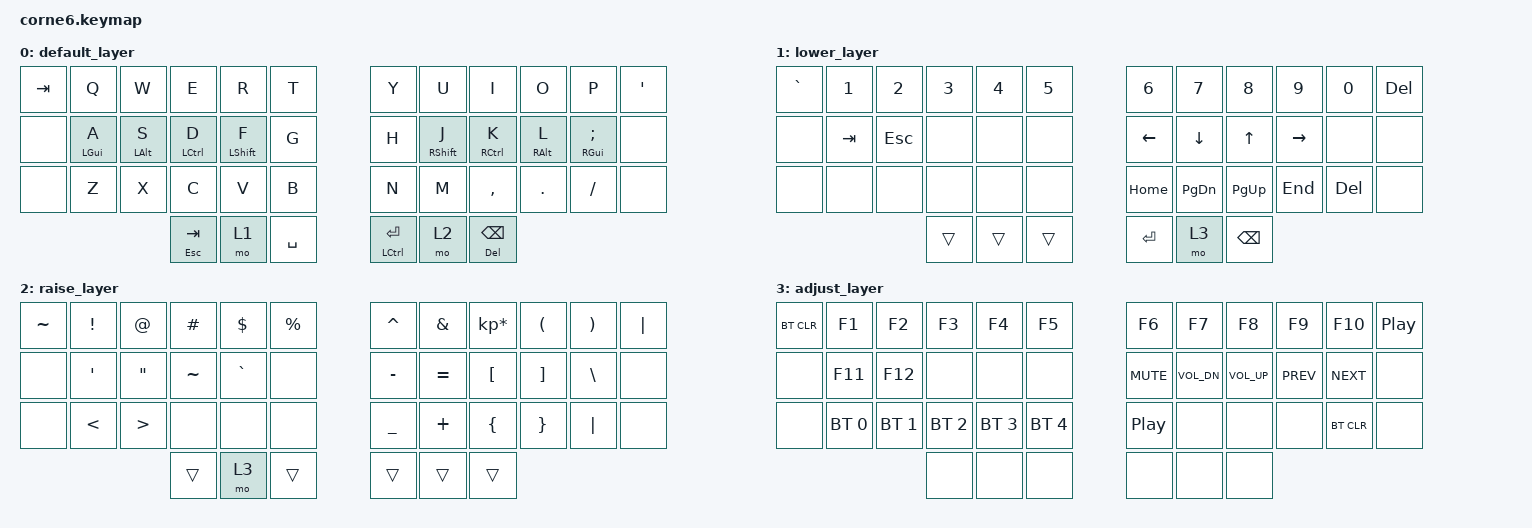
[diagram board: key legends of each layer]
// 6-COLUMN CORNE KEYMAP
// This file is for the 6-column Corne variant where the outer pinky column
// has real physical keys (42 keys total vs 40 on the 5-col version).
//
// Differences from corne.keymap (5-col):
//   - Outer left  col (pos 0, 12, 24): TAB / GRAVE / TILDE / BT_CLR
//   - Outer right col (pos 11, 23, 35): SQT / DEL / PIPE / C_PP
//   - Rows 1 & 2 outer remain &none — customize as needed
//
// To build for 6-col, rename this file to corne.keymap (or update your build
// system to point at this file) before flashing.
//
// Key position grid (0-indexed):
//   Row 0:  0   1   2   3   4   5  |   6   7   8   9  10  11
//   Row 1: 12  13  14  15  16  17  |  18  19  20  21  22  23
//   Row 2: 24  25  26  27  28  29  |  30  31  32  33  34  35
//   Thumb:             36  37  38  |  39  40  41

#include <behaviors.dtsi>
#include <dt-bindings/zmk/keys.h>
#include <dt-bindings/zmk/bt.h>

/ {
    behaviors {
        hm: home_row_mods {
            compatible = "zmk,behavior-hold-tap";
            label = "HOME_ROW_MODS";
            #binding-cells = <2>;
            tapping-term-ms = <200>;
            quick-tap-ms = <150>;
            require-prior-idle-ms = <150>;
            flavor = "balanced";
            bindings = <&kp>, <&kp>;
        };

        // Thumb hold-tap: faster tapping term for responsive thumb keys
        th: thumb_hold_tap {
            compatible = "zmk,behavior-hold-tap";
            label = "THUMB_HOLD_TAP";
            #binding-cells = <2>;
            tapping-term-ms = <180>;
            quick-tap-ms = <150>;
            flavor = "tap-preferred";
            bindings = <&kp>, <&kp>;
        };
    };

    combos {
        compatible = "zmk,combos";
        combo_esc {
            timeout-ms = <150>; // Increased window to allow one after the other
            key-positions = <19 20>;
            bindings = <&kp ESC>;
            /* This allows 'slop' in your typing so they don't
               have to be frame-perfect */
        };
    };

    keymap {
        compatible = "zmk,keymap";

        // LAYER 0: QWERTY — outer col: TAB (left) / SQT (right)
        default_layer {
            bindings = <
    &kp TAB     &kp Q       &kp W       &kp E        &kp R        &kp T          &kp Y   &kp U        &kp I        &kp O       &kp P        &kp SQT
    &none       &hm LGUI A  &hm LALT S  &hm LCTRL D  &hm LSHFT F  &kp G          &kp H   &hm RSHFT J  &hm RCTRL K  &hm RALT L  &hm RGUI SEMI &none
    &none       &kp Z       &kp X       &kp C        &kp V        &kp B          &kp N   &kp M        &kp COMMA    &kp DOT     &kp FSLH     &none
                                         &th ESC TAB  &mo 1        &kp SPACE      &th LCTRL RET &mo 2   &th DEL BSPC
            >;
        };

        // LAYER 1: NAV & NUMBER — outer col: GRAVE (left) / DEL (right)
        lower_layer {
            bindings = <
    &kp GRAVE   &kp N1   &kp N2   &kp N3   &kp N4   &kp N5     &kp N6    &kp N7    &kp N8    &kp N9    &kp N0    &kp DEL
    &none       &kp TAB  &kp ESC  &none    &none    &none      &kp LEFT  &kp DOWN  &kp UP    &kp RIGHT &none     &none
    &none       &none    &none    &none    &none    &none      &kp HOME  &kp PG_DN &kp PG_UP &kp END   &kp DEL   &none
                                  &trans   &trans   &trans     &kp RET   &mo 3     &kp BSPC
            >;
        };

        // LAYER 2: SYMBOL — outer col: TILDE (left) / PIPE (right)
        raise_layer {
            bindings = <
    &kp TILDE   &kp EXCL &kp AT   &kp HASH  &kp DLLR  &kp PRCNT   &kp CARET &kp AMPS  &kp KP_MULTIPLY &kp LPAR &kp RPAR &kp PIPE
    &none       &kp SQT  &kp DQT  &kp TILDE &kp GRAVE &none       &kp MINUS &kp EQUAL &kp LBKT        &kp RBKT &kp BSLH &none
    &none       &kp LT   &kp GT   &none     &none     &none       &kp UNDER &kp PLUS  &kp LBRC        &kp RBRC &kp PIPE &none
                                   &trans    &mo 3     &trans      &trans    &trans    &trans
            >;
        };

        // LAYER 3: ADJUST (F-Keys, Media, BT) — outer col: BT_CLR (left) / C_PP (right)
        adjust_layer {
            bindings = <
    &bt BT_CLR  &kp F1       &kp F2       &kp F3       &kp F4       &kp F5        &kp F6      &kp F7       &kp F8       &kp F9      &kp F10     &kp C_PP
    &none       &kp F11      &kp F12      &none        &none        &none         &kp C_MUTE  &kp C_VOL_DN &kp C_VOL_UP &kp C_PREV  &kp C_NEXT  &none
    &none       &bt BT_SEL 0 &bt BT_SEL 1 &bt BT_SEL 2 &bt BT_SEL 3 &bt BT_SEL 4  &kp C_PP    &none        &none        &none       &bt BT_CLR  &none
                                           &none        &none        &none         &none       &none        &none
            >;
        };
    };
};
